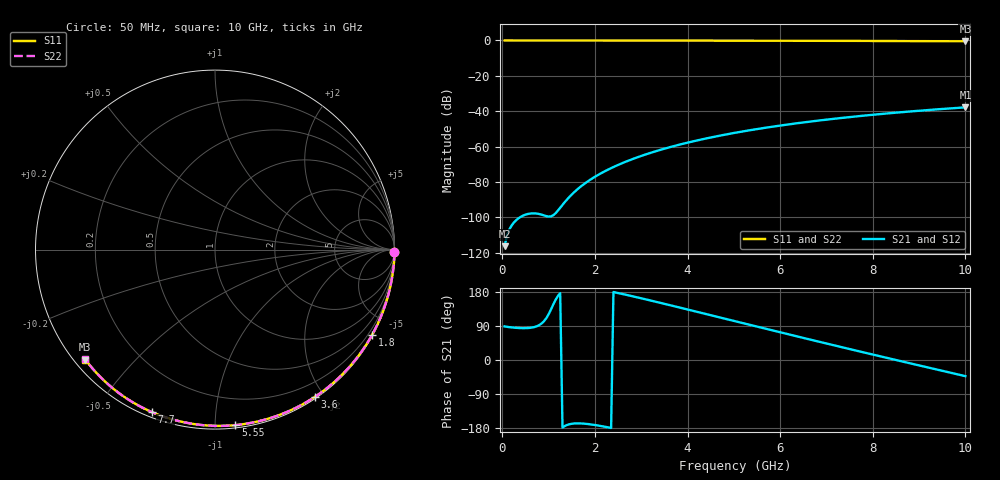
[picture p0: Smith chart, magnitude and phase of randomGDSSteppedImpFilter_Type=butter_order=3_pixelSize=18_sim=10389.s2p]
! freq	dB(S11)	phase(S11)	dB(S12)	phase(S12)
!  dB(S21)	phase(S21)	dB(S22)	phase(S22)
!S-par simulation data
#  GHz  S  DB  R 50
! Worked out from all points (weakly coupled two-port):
!   200 points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, 50 MHz to 10 GHz, reference 50 ohm
!   highest |S21| = -37.82 dB at 10 GHz (marker M1); lowest = -116.3 dB at 50 MHz (marker M2)
!   lowest |S11| = -0.5 dB at 10 GHz (marker M3), VSWR 36.80, Z = 1.54 - j18.3 ohm
!   |S11| at or under -10 dB: nowhere
!   |S22| runs from -0.5 to 0.0 dB; largest |S21 - S12| = 0
!   S11 on the Smith chart (normalised r, x): 50 MHz: open; 1.8 GHz: 0.03, -3.92; 3.6 GHz: 0.02, -1.88; 5.55 GHz: 0.02, -1.12; 7.7 GHz: 0.02, -0.68; 10 GHz: 0.03, -0.37
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0.05  -0.00 -0.8  -116.27 88.7  -116.27 88.7  -0.00 -0.8
0.45  -0.01 -7.3  -98.98 84.0  -98.98 84.0  -0.01 -7.3
0.9  -0.02 -14.5  -98.88 102.3  -98.88 102.3  -0.02 -14.5
1.75  -0.04 -27.8  -81.44 -167.8  -81.44 -167.8  -0.04 -27.9
1.8  -0.04 -28.6  -80.48 -168.3  -80.48 -168.3  -0.04 -28.6
1.85  -0.04 -29.4  -79.57 -169.0  -79.57 -169.0  -0.04 -29.4
2.05  -0.04 -32.5  -76.27 -172.5  -76.27 -172.5  -0.04 -32.5
2.25  -0.05 -35.6  -73.43 -177.0  -73.43 -177.0  -0.05 -35.6
2.55  -0.05 -40.2  -69.78 175.4  -69.78 175.4  -0.05 -40.2
2.95  -0.06 -46.3  -65.72 164.3  -65.72 164.3  -0.06 -46.3
3.4  -0.07 -53.0  -61.93 151.2  -61.93 151.2  -0.07 -53.0
3.6  -0.08 -55.9  -60.44 145.3  -60.44 145.3  -0.08 -55.9
3.9  -0.08 -60.3  -58.40 136.3  -58.40 136.3  -0.08 -60.3
4.3  -0.09 -66.0  -55.96 124.3  -55.96 124.3  -0.09 -66.1
5.05  -0.12 -76.6  -52.07 101.7  -52.07 101.7  -0.12 -76.6
5.55  -0.14 -83.4  -49.87 86.6  -49.87 86.6  -0.14 -83.4
6.1  -0.16 -90.8  -47.74 70.2  -47.74 70.2  -0.16 -90.8
6.7  -0.19 -98.6  -45.68 52.4  -45.68 52.4  -0.19 -98.6
7.7  -0.25 -111.4  -42.77 23.0  -42.77 23.0  -0.25 -111.4
8.35  -0.31 -119.5  -41.16 4.3  -41.16 4.3  -0.31 -119.5
9.2  -0.38 -129.9  -39.31 -20.0  -39.31 -20.0  -0.38 -129.9
10  -0.47 -139.7  -37.82 -42.6  -37.82 -42.6  -0.47 -139.7
